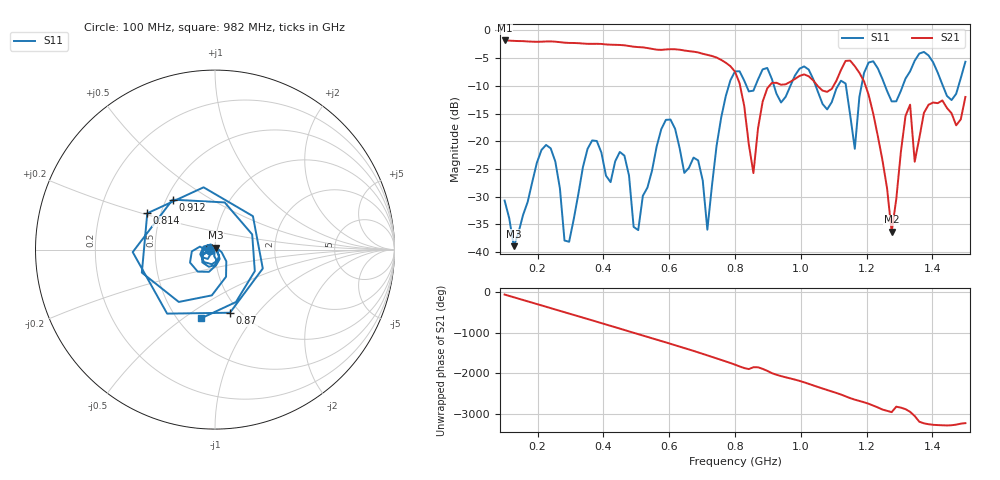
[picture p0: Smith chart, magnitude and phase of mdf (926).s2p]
! NanoVNA-App
! Date: 2025-09-25 15:45:37
! Start: 100MHz Stop: 1,5GHz Points: 101
! S-Parameter data: F S11 S21 S12 S22
# Hz S RI R 50
!  Frequency  S11_Real  S11_Imag  S21_Real  S21_Imag  S12_Real  S12_Imag  S22_Real  S22_Imag
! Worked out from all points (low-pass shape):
!   101 points, 100 MHz to 1.5 GHz, reference 50 ohm
!   highest |S21| = -1.80 dB at 100 MHz (marker M1); lowest = -36.4 dB at 1.276 GHz (marker M2)
!   |S21| within 3 dB of the highest: start of sweep to 739.6 MHz
!   lowest |S11| = -39.0 dB at 128 MHz (marker M3), VSWR 1.02, Z = 50.3 + j1.08 ohm
!   |S11| at or under -10 dB: start of sweep to 781.1 MHz; 918.5 MHz to 968.3 MHz (49.81 MHz wide, 5.28 % of centre); 1.045 GHz to 1.113 GHz (67.62 MHz wide, 6.27 % of centre) (the widest 3 of 7)
!   S12 and S22 are empty: the file has one direction only
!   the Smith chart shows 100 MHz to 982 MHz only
!   S11 on the Smith chart (normalised r, x): 100 MHz: 0.94, -0.01; 814 MHz: 0.42, +0.21; 870 MHz: 0.90, -0.73; 912 MHz: 0.54, +0.35; 982 MHz: 0.65, -0.59
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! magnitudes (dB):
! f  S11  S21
! 100 MHz  -30.7  -1.8
! 128 MHz  -39.0  -1.9
! 212 MHz  -21.6  -2.0
! 282 MHz  -37.9  -2.2
! 338 MHz  -24.7  -2.4
! 464 MHz  -22.6  -2.7
! 506 MHz  -36.1  -3.0
! 576 MHz  -17.8  -3.5
! 716 MHz  -36.0  -4.4
! 800 MHz  -7.4  -7.4
! 814 MHz  -7.4  -9.5
! 856 MHz  -10.9  -25.8
! 870 MHz  -8.8  -17.7
! 912 MHz  -8.8  -9.5
! 982 MHz  -8.1  -8.8
! 1.038 GHz  -8.8  -9.0
! 1.164 GHz  -21.4  -6.5
! 1.192 GHz  -7.7  -9.2
! 1.276 GHz  -12.8  -36.4
! 1.332 GHz  -7.4  -13.4
! 1.346 GHz  -5.5  -23.7
! 1.5 GHz  -5.6  -12.0
